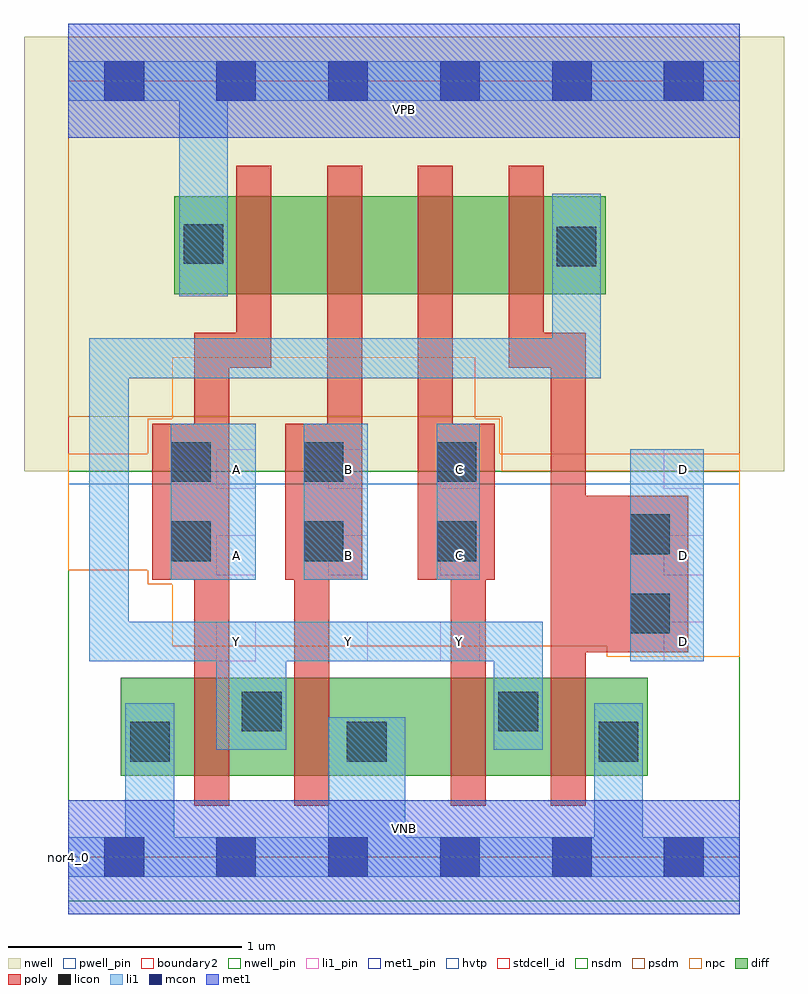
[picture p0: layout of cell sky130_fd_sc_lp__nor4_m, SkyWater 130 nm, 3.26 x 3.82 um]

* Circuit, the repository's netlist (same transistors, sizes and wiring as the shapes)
* Copyright 2020 The SkyWater PDK Authors
*
* Licensed under the Apache License, Version 2.0 (the "License");
* you may not use this file except in compliance with the License.
* You may obtain a copy of the License at
*
*     https://www.apache.org/licenses/LICENSE-2.0
*
* Unless required by applicable law or agreed to in writing, software
* distributed under the License is distributed on an "AS IS" BASIS,
* WITHOUT WARRANTIES OR CONDITIONS OF ANY KIND, either express or implied.
* See the License for the specific language governing permissions and
* limitations under the License.
*
* SPDX-License-Identifier: Apache-2.0

.SUBCKT sky130_fd_sc_lp__nor4_m A B C D VGND VNB VPB VPWR Y
*.PININFO A:I B:I C:I D:I VGND:I VNB:I VPB:I VPWR:I Y:O
MMP0 VPWR A sndPA VPB sky130_fd_pr__pfet_01v8_hvt m=1 w=0.42U l=0.15U mult=1 sa=0.265
+ sb=0.265 sd=0.28 area=0.028 perim=0.76
MMP1 sndPA B sndPB VPB sky130_fd_pr__pfet_01v8_hvt m=1 w=0.42U l=0.15U mult=1 sa=0.265
+ sb=0.265 sd=0.28 area=0.028 perim=0.76
MMP2 sndPB C sndPC VPB sky130_fd_pr__pfet_01v8_hvt m=1 w=0.42U l=0.15U mult=1 sa=0.265
+ sb=0.265 sd=0.28 area=0.028 perim=0.76
MMP3 sndPC D Y VPB sky130_fd_pr__pfet_01v8_hvt m=1 w=0.42U l=0.15U mult=1 sa=0.265
+ sb=0.265 sd=0.28 area=0.028 perim=0.76
MMN0 Y A VGND VNB sky130_fd_pr__nfet_01v8 m=1 w=0.42U l=0.15U mult=1 sa=0.265 sb=0.265
+ sd=0.28 area=0.028 perim=0.76
MMN1 Y B VGND VNB sky130_fd_pr__nfet_01v8 m=1 w=0.42U l=0.15U mult=1 sa=0.265 sb=0.265
+ sd=0.28 area=0.028 perim=0.76
MMN2 Y C VGND VNB sky130_fd_pr__nfet_01v8 m=1 w=0.42U l=0.15U mult=1 sa=0.265 sb=0.265
+ sd=0.28 area=0.028 perim=0.76
MMN3 Y D VGND VNB sky130_fd_pr__nfet_01v8 m=1 w=0.42U l=0.15U mult=1 sa=0.265 sb=0.265
+ sd=0.28 area=0.028 perim=0.76
.ENDS sky130_fd_sc_lp__nor4_m

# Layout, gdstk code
import gdstk
lib = gdstk.Library(unit=1e-6, precision=1e-09)
def R(c, l, rs):  # rectangles x0, y0, x1, y1
    for r in rs: c.add(gdstk.rectangle(r[:2], r[2:], *l))
def A(c, l, x, y, w, h, nx, ny, dx, dy):  # array of equal rectangles
    R(c, l, [(x+i*dx, y+j*dy, x+i*dx+w, y+j*dy+h) for i in range(nx) for j in range(ny)])
def P(c, l, *ps):  # polygons
    for p in ps: c.add(gdstk.Polygon(p, *l))
nwell_pin = (64, 16)
nwell = (64, 20)
diff = (65, 20)
poly = (66, 20)
licon = (66, 44)
li1_pin = (67, 16)
li1 = (67, 20)
mcon = (67, 44)
met1_pin = (68, 16)
met1 = (68, 20)
hvtp = (78, 44)
stdcell_id = (81, 4)
nsdm = (93, 44)
psdm = (94, 20)
npc = (95, 20)
pwell_pin = (122, 16)
boundary2 = (236, 0)

sky130_fd_sc_lp__nor4_m = lib.new_cell('sky130_fd_sc_lp__nor4_m')
R(sky130_fd_sc_lp__nor4_m, nwell_pin, [(0,3.085,2.88,3.33)])
R(sky130_fd_sc_lp__nor4_m, nwell, [(-0.19,1.655,3.07,3.52)])
R(sky130_fd_sc_lp__nor4_m, diff, [(0.225,0.35,2.485,0.77), (0.455,2.415,2.305,2.835)])
P(sky130_fd_sc_lp__nor4_m, poly, [(0.87,2.965),(0.72,2.965),(0.72,2.25),(0.54,2.25),(0.54,1.86),(0.36,1.86),(0.36,1.19),(0.54,1.19),(0.54,0.22),(0.69,0.22),(0.69,2.1),(0.87,2.1)],
  [(1.26,2.965),(1.11,2.965),(1.11,1.86),(0.93,1.86),(0.93,1.19),(0.97,1.19),(0.97,0.22),(1.12,0.22),(1.12,1.19),(1.26,1.19)],
  [(1.83,1.86),(1.65,1.86),(1.65,2.965),(1.5,2.965),(1.5,1.19),(1.64,1.19),(1.64,0.22),(1.79,0.22),(1.79,1.19),(1.83,1.19)],
  [(2.66,1.55),(2.22,1.55),(2.22,2.25),(2.04,2.25),(2.04,2.965),(1.89,2.965),(1.89,2.1),(2.07,2.1),(2.07,0.22),(2.22,0.22),(2.22,0.88),(2.66,0.88)])
A(sky130_fd_sc_lp__nor4_m, licon, 0.44, 1.27, 0.17, 0.17, 3, 2, 0.57, 0.34)
R(sky130_fd_sc_lp__nor4_m, licon, [(0.265,0.41,0.435,0.58), (1.195,0.41,1.365,0.58), (2.275,0.41,2.445,0.58), (0.745,0.54,0.915,0.71), (1.845,0.54,2.015,0.71), (2.41,0.96,2.58,1.13), (2.41,1.3,2.58,1.47), (2.095,2.535,2.265,2.705), (0.495,2.545,0.665,2.715)])
A(sky130_fd_sc_lp__nor4_m, li1_pin, 0.635, 0.84, 0.17, 0.17, 3, 3, 0.48, 0.37)
A(sky130_fd_sc_lp__nor4_m, li1_pin, 2.555, 0.84, 0.17, 0.17, 1, 3, 0, 0.37)
R(sky130_fd_sc_lp__nor4_m, li1, [(2.41,0.84,2.725,1.75), (0.44,1.19,0.805,1.86), (1.01,1.19,1.285,1.86), (1.58,1.19,1.765,1.86)])
P(sky130_fd_sc_lp__nor4_m, li1, [(0.475,2.405),(0.475,3.245),(0,3.245),(0,3.415),(2.88,3.415),(2.88,3.245),(0.685,3.245),(0.685,2.405)],
  [(2.255,0.085),(2.255,0.66),(2.465,0.66),(2.465,0.085),(2.88,0.085),(2.88,-0.085),(0,-0.085),(0,0.085),(0.245,0.085),(0.245,0.66),(0.455,0.66),(0.455,0.085),(1.115,0.085),(1.115,0.6),(1.445,0.6),(1.445,0.085)],
  [(0.26,2.055),(0.26,1.01),(2.035,1.01),(2.035,0.46),(1.825,0.46),(1.825,0.84),(0.935,0.84),(0.935,0.46),(0.635,0.46),(0.635,0.84),(0.09,0.84),(0.09,2.225),(2.075,2.225),(2.075,2.845),(2.285,2.845),(2.285,2.055)])
A(sky130_fd_sc_lp__nor4_m, mcon, 0.155, -0.085, 0.17, 0.17, 6, 2, 0.48, 3.33)
R(sky130_fd_sc_lp__nor4_m, met1_pin, [(0,0,2.88,0.245), (0,3.085,2.88,3.33)])
R(sky130_fd_sc_lp__nor4_m, met1, [(0,-0.245,2.88,0.245), (0,3.085,2.88,3.575)])
R(sky130_fd_sc_lp__nor4_m, hvtp, [(0,1.6,2.88,3.33)])
R(sky130_fd_sc_lp__nor4_m, stdcell_id, [(0,0,2.88,3.33)])
R(sky130_fd_sc_lp__nor4_m, nsdm, [(0,-0.19,2.88,1.655)])
P(sky130_fd_sc_lp__nor4_m, psdm, [(2.88,3.52),(0,3.52),(0,1.89),(1.86,1.89),(1.86,1.655),(2.88,1.655)])
P(sky130_fd_sc_lp__nor4_m, npc, [(2.88,1.73),(1.85,1.73),(1.85,1.88),(1.745,1.88),(1.745,2.145),(0.445,2.145),(0.445,1.88),(0.34,1.88),(0.34,1.73),(0,1.73),(0,1.23),(0.34,1.23),(0.34,1.17),(0.445,1.17),(0.445,0.905),(2.31,0.905),(2.31,0.86),(2.88,0.86)])
R(sky130_fd_sc_lp__nor4_m, pwell_pin, [(0,0,2.88,0.245)])
R(sky130_fd_sc_lp__nor4_m, boundary2, [(0,0,2.88,3.33)])
sky130_fd_sc_lp__nor4_m.add(gdstk.Label('VNB', (1.44,0.123), layer=64, texttype=59))
sky130_fd_sc_lp__nor4_m.add(gdstk.Label('VPB', (1.44,3.208), layer=64, texttype=5))
sky130_fd_sc_lp__nor4_m.add(gdstk.Label('nor4_0', (0,0), layer=83, texttype=44))
sky130_fd_sc_lp__nor4_m.add(gdstk.Label('VPWR', (1.44,3.208), layer=68, texttype=5))
sky130_fd_sc_lp__nor4_m.add(gdstk.Label('VGND', (1.44,0.123), layer=68, texttype=5))
sky130_fd_sc_lp__nor4_m.add(gdstk.Label('A', (0.72,1.295), layer=67, texttype=5))
sky130_fd_sc_lp__nor4_m.add(gdstk.Label('A', (0.72,1.665), layer=67, texttype=5))
sky130_fd_sc_lp__nor4_m.add(gdstk.Label('D', (2.64,0.925), layer=67, texttype=5))
sky130_fd_sc_lp__nor4_m.add(gdstk.Label('D', (2.64,1.295), layer=67, texttype=5))
sky130_fd_sc_lp__nor4_m.add(gdstk.Label('D', (2.64,1.665), layer=67, texttype=5))
sky130_fd_sc_lp__nor4_m.add(gdstk.Label('Y', (0.72,0.925), layer=67, texttype=5))
sky130_fd_sc_lp__nor4_m.add(gdstk.Label('Y', (1.2,0.925), layer=67, texttype=5))
sky130_fd_sc_lp__nor4_m.add(gdstk.Label('Y', (1.68,0.925), layer=67, texttype=5))
sky130_fd_sc_lp__nor4_m.add(gdstk.Label('B', (1.2,1.295), layer=67, texttype=5))
sky130_fd_sc_lp__nor4_m.add(gdstk.Label('B', (1.2,1.665), layer=67, texttype=5))
sky130_fd_sc_lp__nor4_m.add(gdstk.Label('C', (1.68,1.295), layer=67, texttype=5))
sky130_fd_sc_lp__nor4_m.add(gdstk.Label('C', (1.68,1.665), layer=67, texttype=5))

lib.write_gds('sky130_fd_sc_lp__nor4_m.gds')
